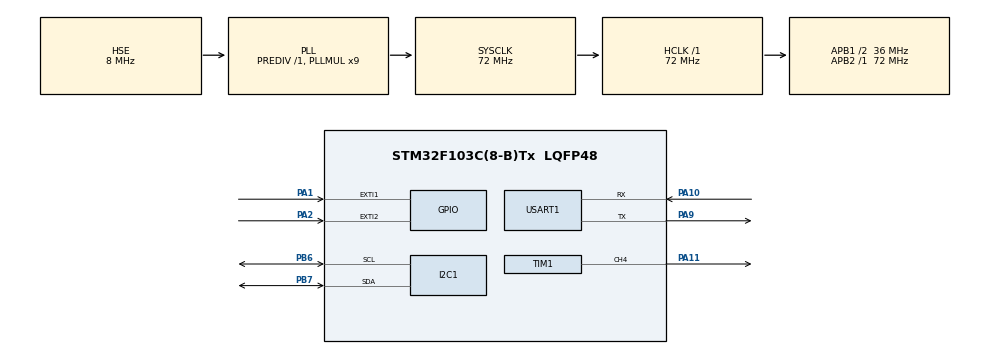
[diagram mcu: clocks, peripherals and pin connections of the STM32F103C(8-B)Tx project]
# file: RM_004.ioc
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Dma.Request0=USART1_RX
Dma.Request1=USART1_TX
Dma.USART1_RX.0.Direction=DMA_PERIPH_TO_MEMORY
Dma.USART1_RX.0.Instance=DMA1_Channel5
Dma.USART1_RX.0.MemDataAlignment=DMA_MDATAALIGN_BYTE
Dma.USART1_RX.0.MemInc=DMA_MINC_ENABLE
Dma.USART1_RX.0.Mode=DMA_NORMAL
Dma.USART1_RX.0.PeriphDataAlignment=DMA_PDATAALIGN_BYTE
Dma.USART1_RX.0.PeriphInc=DMA_PINC_DISABLE
Dma.USART1_RX.0.Priority=DMA_PRIORITY_LOW
Dma.USART1_TX.1.Direction=DMA_MEMORY_TO_PERIPH
Dma.USART1_TX.1.Instance=DMA1_Channel4
Dma.USART1_TX.1.MemDataAlignment=DMA_MDATAALIGN_BYTE
Dma.USART1_TX.1.MemInc=DMA_MINC_ENABLE
Dma.USART1_TX.1.Mode=DMA_NORMAL
Dma.USART1_TX.1.PeriphDataAlignment=DMA_PDATAALIGN_BYTE
Dma.USART1_TX.1.PeriphInc=DMA_PINC_DISABLE
Dma.USART1_TX.1.Priority=DMA_PRIORITY_LOW
Mcu.Family=STM32F1
Mcu.Name=STM32F103C(8-B)Tx
Mcu.Package=LQFP48
NVIC.DMA1_Channel4_IRQn=true\:0\:0\:false\:false\:true\:false\:true\:true
NVIC.DMA1_Channel5_IRQn=true\:0\:0\:false\:false\:true\:false\:true\:true
NVIC.EXTI1_IRQn=true\:0\:0\:false\:false\:true\:true\:true\:true
NVIC.EXTI2_IRQn=true\:0\:0\:false\:false\:true\:true\:true\:true
NVIC.PriorityGroup=NVIC_PRIORITYGROUP_4
NVIC.USART1_IRQn=true\:0\:0\:false\:false\:true\:true\:true\:true
PA1.GPIO_PuPd=GPIO_PULLUP
PA1.Signal=GPXTI1
PA10.Mode=Asynchronous
PA10.Signal=USART1_RX
PA11.Signal=S_TIM1_CH4
PA13.Mode=Serial_Wire
PA13.Signal=SYS_JTMS-SWDIO
PA14.Mode=Serial_Wire
PA14.Signal=SYS_JTCK-SWCLK
PA2.GPIO_PuPd=GPIO_PULLUP
PA2.Signal=GPXTI2
PA9.Mode=Asynchronous
PA9.Signal=USART1_TX
PB6.Mode=I2C
PB6.Signal=I2C1_SCL
PB7.Mode=I2C
PB7.Signal=I2C1_SDA
PD0-OSC_IN.Mode=HSE-External-Oscillator
PD0-OSC_IN.Signal=RCC_OSC_IN
PD1-OSC_OUT.Mode=HSE-External-Oscillator
PD1-OSC_OUT.Signal=RCC_OSC_OUT
ProjectManager.HeapSize=0x200
ProjectManager.StackSize=0x400
ProjectManager.TargetToolchain=CMake
RCC.AHBFreq_Value=72000000
RCC.APB1CLKDivider=RCC_HCLK_DIV2
RCC.APB1Freq_Value=36000000
RCC.APB1TimFreq_Value=72000000
RCC.APB2Freq_Value=72000000
RCC.APB2TimFreq_Value=72000000
RCC.HCLKFreq_Value=72000000
RCC.PLLMUL=RCC_PLL_MUL9
RCC.PLLSourceVirtual=RCC_PLLSOURCE_HSE
RCC.SYSCLKFreq_VALUE=72000000
RCC.SYSCLKSource=RCC_SYSCLKSOURCE_PLLCLK
RCC.USBFreq_Value=72000000
SH.S_TIM1_CH4.0=TIM1_CH4,PWM Generation4 CH4
TIM1.Channel-PWM\ Generation4\ CH4=TIM_CHANNEL_4
TIM1.Period=2000-1
TIM1.Prescaler=720-1
USART1.VirtualMode=VM_ASYNC
VP_TIM1_VS_ClockSourceINT.Mode=Internal
board=custom

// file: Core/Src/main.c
/* USER CODE BEGIN Header */
/**
  ******************************************************************************
  * @file           : main.c
  * @brief          : Main program body
  ******************************************************************************
  * @attention
  *
  * Copyright (c) 2026 STMicroelectronics.
  * All rights reserved.
  *
  * This software is licensed under terms that can be found in the LICENSE file
  * in the root directory of this software component.
  * If no LICENSE file comes with this software, it is provided AS-IS.
  *
  ******************************************************************************
  */
/* USER CODE END Header */
#include "main.h"
#include "dma.h"
#include "i2c.h"
#include "tim.h"
#include "usart.h"
#include "gpio.h"

/* USER CODE BEGIN Includes */
#include "oled.h"
#include "oledfont.h"
#include <stdio.h>
#include <string.h>
/* USER CODE END Includes */

/* USER CODE BEGIN PV */

volatile int count = 5;
volatile uint8_t transmit = 0;

/* USER CODE END PV */

void SystemClock_Config(void);

int main(void)
{

  /* MCU Configuration--------------------------------------------------------*/

  /* Reset of all peripherals, Initializes the Flash interface and the Systick. */
  HAL_Init();

  /* Configure the system clock */
  SystemClock_Config();

  /* Initialize all configured peripherals */
  MX_GPIO_Init();
  MX_DMA_Init();
  MX_TIM1_Init();
  MX_I2C1_Init();
  MX_USART1_UART_Init();
  /* USER CODE BEGIN 2 */
  HAL_TIM_PWM_Start (&htim1 , TIM_CHANNEL_4 );

  OLED_Init();
  OLED_Clear ();

  int CCR = 0;
  int Pulsef = 0;
  int Pulsed = 0;
  char message1[30];
  char message2[30];
  char message3[30];
  char message[100];

  /* USER CODE END 2 */

  /* Infinite loop */
  /* USER CODE BEGIN WHILE */

  while (1)
  {
    CCR = (((float)count / 18 + 2.5 ) / 100) * 2000;//注意到角度是0-180 所以将其除18 得出数位于0-10 加2.5 等于的数为2.5-12.5 除一百恰好位于 2.5%-12.5% 所以满足输出比
    Pulsed = CCR/1000;
    Pulsef = CCR%1000;
    __HAL_TIM_SET_COMPARE (&htim1 , TIM_CHANNEL_4 , CCR  );

    HAL_Delay (10);

    sprintf(message1,"Target : %d    " , count );
    sprintf(message2,"CCR    : %d    " , CCR );
    sprintf(message3,"pulse  : %d.%d    " , Pulsed,Pulsef  );
    sprintf(message,"%s\n %s\n %s\n",message1,message2,message3);
    OLED_ShowString (0,0,message1,12,0);
    OLED_ShowString (0,1,message2,12,0);
    OLED_ShowString (0,2,message3,12,0);

    if (transmit == 1) {
      HAL_UART_Transmit_DMA(&huart1 , (uint8_t *)message,strlen(message) );

    }

    /* USER CODE END WHILE */

  }
}

void SystemClock_Config(void)
{
  RCC_OscInitTypeDef RCC_OscInitStruct = {0};
  RCC_ClkInitTypeDef RCC_ClkInitStruct = {0};

  /** Initializes the RCC Oscillators according to the specified parameters
  * in the RCC_OscInitTypeDef structure.
  */
  RCC_OscInitStruct.OscillatorType = RCC_OSCILLATORTYPE_HSE;
  RCC_OscInitStruct.HSEState = RCC_HSE_ON;
  RCC_OscInitStruct.HSEPredivValue = RCC_HSE_PREDIV_DIV1;
  RCC_OscInitStruct.HSIState = RCC_HSI_ON;
  RCC_OscInitStruct.PLL.PLLState = RCC_PLL_ON;
  RCC_OscInitStruct.PLL.PLLSource = RCC_PLLSOURCE_HSE;
  RCC_OscInitStruct.PLL.PLLMUL = RCC_PLL_MUL9;
  if (HAL_RCC_OscConfig(&RCC_OscInitStruct) != HAL_OK)
  {
    Error_Handler();
  }

  /** Initializes the CPU, AHB and APB buses clocks
  */
  RCC_ClkInitStruct.ClockType = RCC_CLOCKTYPE_HCLK|RCC_CLOCKTYPE_SYSCLK
                              |RCC_CLOCKTYPE_PCLK1|RCC_CLOCKTYPE_PCLK2;
  RCC_ClkInitStruct.SYSCLKSource = RCC_SYSCLKSOURCE_PLLCLK;
  RCC_ClkInitStruct.AHBCLKDivider = RCC_SYSCLK_DIV1;
  RCC_ClkInitStruct.APB1CLKDivider = RCC_HCLK_DIV2;
  RCC_ClkInitStruct.APB2CLKDivider = RCC_HCLK_DIV1;

  if (HAL_RCC_ClockConfig(&RCC_ClkInitStruct, FLASH_LATENCY_2) != HAL_OK)
  {
    Error_Handler();
  }
}

/* USER CODE BEGIN 4 */
void HAL_GPIO_EXTI_Callback(uint16_t GPIO_Pin) {
  if (GPIO_Pin == GPIO_PIN_1 ) {
    static uint32_t last = 0;
    uint32_t now = HAL_GetTick();

    if ((now - last) > 20) {
      count -= 15 ;
      if (count <5) {
        count = 5;
      }
      transmit = 1;
      last = now;
    }
  }

  if (GPIO_Pin == GPIO_PIN_2 ) {
    static uint32_t last = 0;
    uint32_t now = HAL_GetTick();

    if ((now - last) > 20) {
      count += 15 ;
      if (count >175) {
        count = 175;
      }
      transmit = 1;
      last = now;
    }
  }
}

void HAL_UART_TxCpltCallback(UART_HandleTypeDef *huart) {
  if (huart == &huart1 ) {
    transmit = 0;
  }
}
/* USER CODE END 4 */

void Error_Handler(void)
{
  __disable_irq();
  while (1)
  {
  }
}
